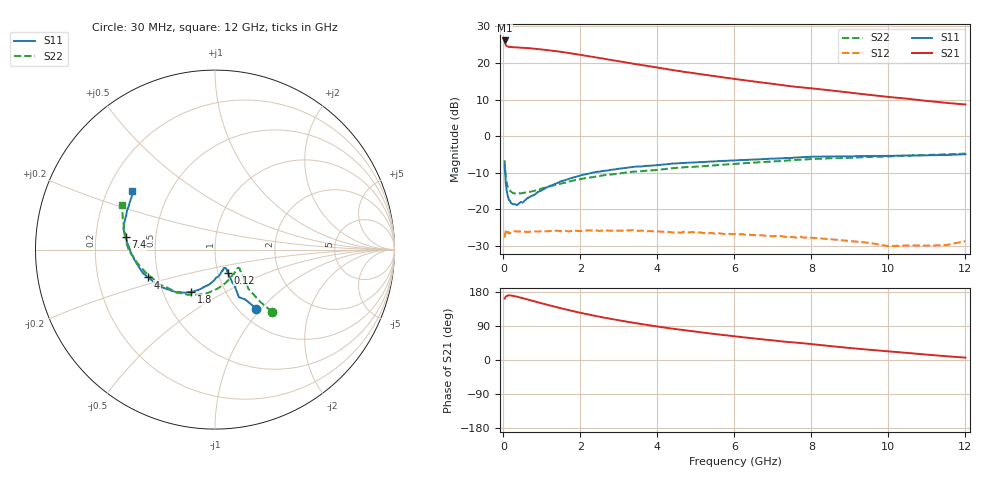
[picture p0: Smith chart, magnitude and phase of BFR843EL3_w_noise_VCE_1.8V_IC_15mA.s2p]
! Infineon Technologies  Discrete & RF Semiconductors
! BFR843EL3
! VCE =  1.8 V,  IC =  15 mA
! Common Emitter S-Parameters:  Aug 2013
# GHz  S  MA  R  50
!  f  S11  S21  S12  S22
! GHz  MAG  ANG  MAG  ANG  MAG  ANG  MAG  ANG
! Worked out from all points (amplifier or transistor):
!   103 points, 30 MHz to 12 GHz, reference 50 ohm
!   highest |S21| = 26.2 dB at 30 MHz (marker M1)
!   |S21| within 3 dB of that: start of sweep to 1.416 GHz
!   unconditionally stable (mu >= 1): 4.573 GHz to 4.625 GHz; 4.755 GHz to end of sweep
!   at 400 MHz: K = 0.99, MSG = 25.2 dB, |S12| = -26.1 dB
!   at 3.7 GHz: K = 0.93, MSG = 22.7 dB, |S12| = -26.1 dB
!   at 12 GHz: K = 2.37, MAG = 12.1 dB, |S12| = -28.7 dB
!   lowest NFmin = 0.99 dB at 900 MHz
!   S11 on the Smith chart (normalised r, x): 30 MHz: 1.20, -0.94; 120 MHz: 1.11, -0.29; 1.8 GHz: 0.69, -0.35; 4 GHz: 0.44, -0.16; 7.4 GHz: 0.33, +0.06; 12 GHz: 0.30, +0.29
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0.03  0.4015 -54.9  20.38 162.1  0.0409 28.4  0.4695 -47.5
0.04  0.3253 -58.8  19.04 163.7  0.046 21.7  0.382 -49.2
0.06  0.2245 -61.4  17.67 166.8  0.0524 17.1  0.2864 -49.6
0.08  0.1892 -61.9  17.16 168.7  0.0481 11.5  0.2399 -46.7
0.12  0.1464 -60.8  16.79 170.1  0.049 8.2  0.197 -41.5
0.25  0.1175 -62.4  16.47 169.3  0.0492 2.9  0.1665 -37.6
0.6  0.139 -77.4  16.05 160.4  0.049 2.7  0.1711 -51.4
1.2  0.2079 -103.3  14.91 144.1  0.0503 2.1  0.2058 -79.5
1.5  0.2423 -112.2  14.22 136.4  0.05 1.9  0.2251 -90.8
1.8  0.2708 -119.7  13.47 129.2  0.0511 2.1  0.2463 -100.0
2.1  0.299 -126.5  12.69 122.3  0.0511 0.3  0.2646 -109.0
2.6  0.3357 -137.2  11.49 112.1  0.0515 1.5  0.2916 -120.2
3  0.3588 -143.7  10.57 104.8  0.0509 -0.3  0.3084 -128.1
3.4  0.3817 -149.9  9.75 97.8  0.0518 -1.8  0.3281 -135.1
4  0.4018 -157.3  8.681 88.4  0.0497 -2.6  0.346 -143.5
4.1  0.4067 -158.2  8.509 86.9  0.0494 -3.6  0.3502 -144.2
5.1  0.4413 -169.4  7.075 73.4  0.0483 -4.0  0.3859 -156.2
6.1  0.4693 -178.2  5.974 61.5  0.0452 -3.6  0.4211 -165.4
7.4  0.502 171.9  4.868 47.4  0.0413 -2.2  0.4662 -176.4
8.5  0.5279 162.6  4.226 36.6  0.0389 -3.4  0.4991 174.2
10.5  0.5435 150.8  3.25 18.6  0.0321 11.7  0.5416 161.6
12  0.5665 144.8  2.708 6.2  0.0366 28.9  0.5773 154.2
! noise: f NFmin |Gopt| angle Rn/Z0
0.45  1  0.06  107  0.12
0.9  0.99  0.07  113  0.12
1.5  1.01  0.08  117  0.11
1.9  1.02  0.08  121  0.11
2.4  1.03  0.09  126  0.11
3.5  1.05  0.12  140  0.1
5.5  1.09  0.18  162  0.1
8  1.14  0.3  190  0.07
10  1.18  0.42  217  0.07
